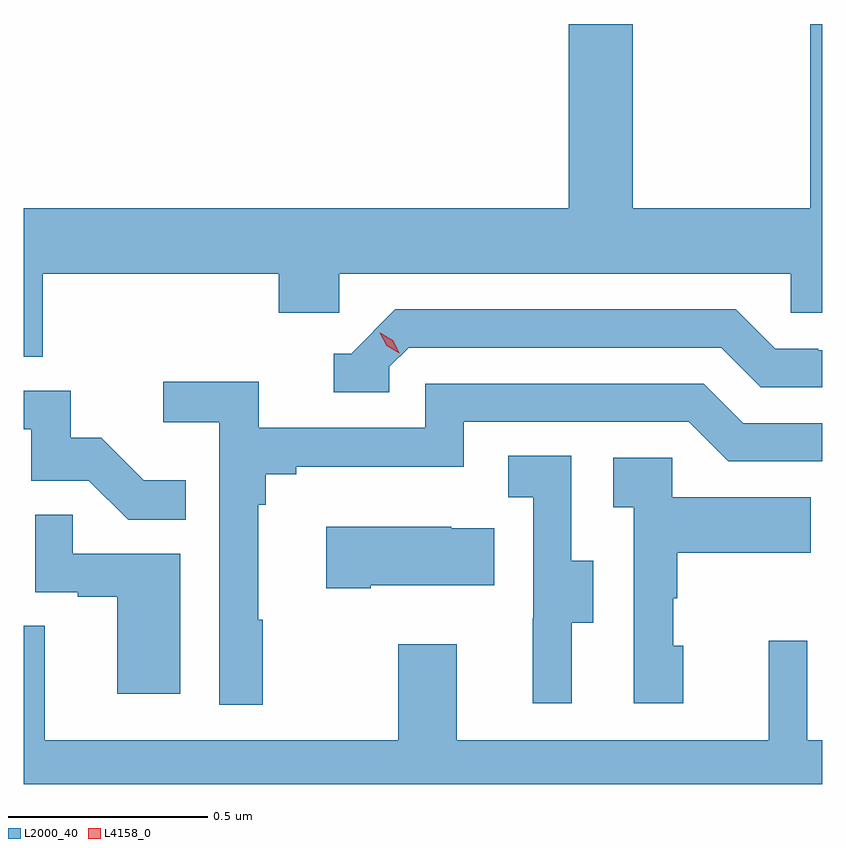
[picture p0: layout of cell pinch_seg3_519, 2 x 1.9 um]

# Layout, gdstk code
import gdstk
lib = gdstk.Library(unit=1e-6, precision=1e-09)
def P(c, l, *ps):  # polygons
    for p in ps: c.add(gdstk.Polygon(p, *l))
L2000_40 = (2000, 40)
L4158_0 = (4158, 0)

pinch_seg3_519 = lib.new_cell('pinch_seg3_519')
P(pinch_seg3_519, L2000_40, [(1003.131,672.238),(1002.971,672.238),(1002.971,671.776),(1001.606,671.776),(1001.606,671.404),(1001.654,671.404),(1001.654,671.612),(1002.245,671.612),(1002.245,671.514),(1002.396,671.514),(1002.396,671.612),(1003.527,671.612),(1003.527,671.514),(1003.606,671.514),(1003.606,672.238),(1003.576,672.238),(1003.576,671.776),(1003.131,671.776)],
  [(1002.522,671.379),(1002.57,671.427),(1003.353,671.427),(1003.452,671.328),(1003.606,671.328),(1003.606,671.421),(1003.596,671.421),(1003.596,671.424),(1003.489,671.424),(1003.39,671.523),(1002.537,671.523),(1002.426,671.412),(1002.383,671.412),(1002.383,671.316),(1002.522,671.316)],
  [(1002.205,670.745),(1002.193,670.745),(1002.193,671.033),(1002.212,671.033),(1002.212,671.11),(1002.289,671.11),(1002.289,671.129),(1002.708,671.129),(1002.708,671.241),(1003.272,671.241),(1003.371,671.142),(1003.606,671.142),(1003.606,671.238),(1003.408,671.238),(1003.309,671.337),(1002.612,671.337),(1002.612,671.226),(1002.194,671.226),(1002.194,671.342),(1001.955,671.342),(1001.955,671.24),(1002.096,671.24),(1002.096,670.533),(1002.205,670.533)],
  [(1002.011,671.095),(1001.907,671.095),(1001.8,671.202),(1001.724,671.202),(1001.724,671.319),(1001.606,671.319),(1001.606,671.223),(1001.625,671.223),(1001.625,671.094),(1001.769,671.094),(1001.867,670.996),(1002.011,670.996)],
  [(1002.979,670.738),(1003.033,670.738),(1003.033,670.893),(1002.978,670.893),(1002.978,671.156),(1002.819,671.156),(1002.819,671.053),(1002.882,671.053),(1002.882,670.749),(1002.881,670.749),(1002.881,670.536),(1002.979,670.536)],
  [(1003.258,670.68),(1003.233,670.68),(1003.233,670.799),(1003.243,670.799),(1003.243,670.913),(1003.577,670.913),(1003.577,671.053),(1003.23,671.053),(1003.23,671.151),(1003.083,671.151),(1003.083,671.027),(1003.134,671.027),(1003.134,670.536),(1003.258,670.536)],
  [(1001.998,670.911),(1001.729,670.911),(1001.729,671.009),(1001.634,671.009),(1001.634,670.815),(1001.741,670.815),(1001.741,670.803),(1001.84,670.803),(1001.84,670.56),(1001.998,670.56)],
  [(1002.475,670.832),(1002.785,670.832),(1002.785,670.975),(1002.677,670.975),(1002.677,670.978),(1002.363,670.978),(1002.363,670.825),(1002.475,670.825)],
  [(1003.606,670.444),(1003.569,670.444),(1003.569,670.693),(1003.472,670.693),(1003.472,670.444),(1002.691,670.444),(1002.691,670.684),(1002.544,670.684),(1002.544,670.444),(1001.659,670.444),(1001.659,670.73),(1001.606,670.73),(1001.606,670.334),(1003.606,670.334)])
P(pinch_seg3_519, L4158_0, [(1002.546,671.413),(1002.515,671.432),(1002.498,671.465),(1002.498,671.465),(1002.499,671.465),(1002.53,671.446),(1002.547,671.414),(1002.547,671.413)])

lib.write_gds('pinch_seg3_519.gds')
